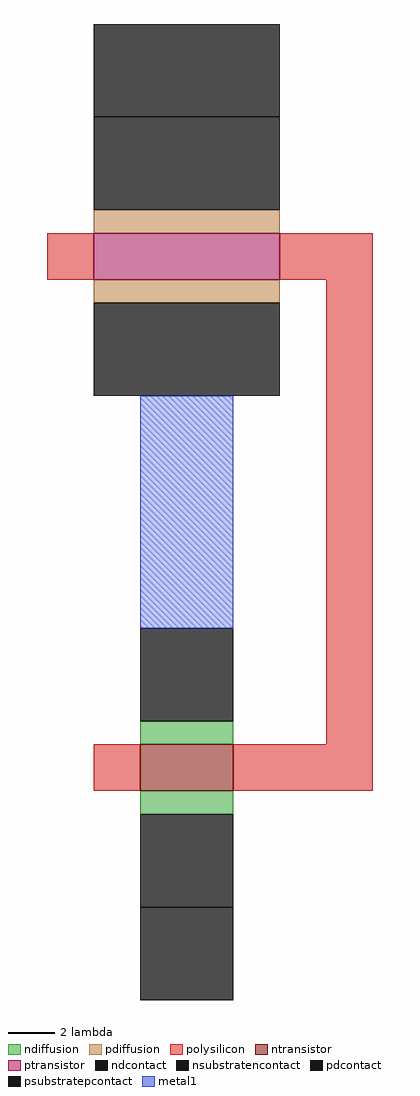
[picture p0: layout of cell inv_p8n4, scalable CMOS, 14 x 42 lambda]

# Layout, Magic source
magic
tech scmos
<< polysilicon >>
rect -6 5 -4 7
rect 4 5 8 7
rect 6 -15 8 5
rect -4 -17 -2 -15
rect 2 -17 8 -15
<< ndiffusion >>
rect -2 -15 2 -14
rect -2 -18 2 -17
<< pdiffusion >>
rect -4 7 4 8
rect -4 4 4 5
<< metal1 >>
rect -2 -10 2 0
<< ntransistor >>
rect -2 -17 2 -15
<< ptransistor >>
rect -4 5 4 7
<< ndcontact >>
rect -2 -14 2 -10
rect -2 -22 2 -18
<< pdcontact >>
rect -4 8 4 12
rect -4 0 4 4
<< psubstratepcontact >>
rect -2 -26 2 -22
<< nsubstratencontact >>
rect -4 12 4 16
<< end >>
